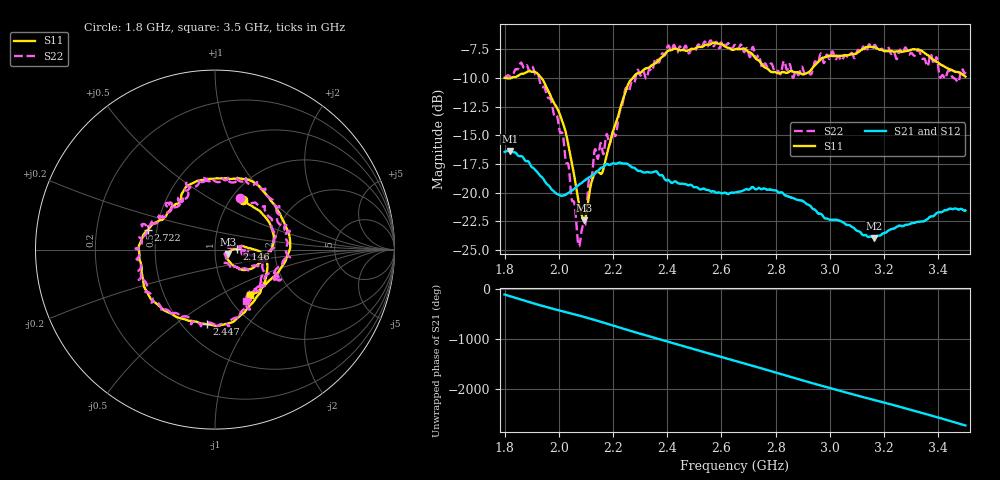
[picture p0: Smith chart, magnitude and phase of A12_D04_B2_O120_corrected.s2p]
! Created with skrf 1.9.0 (http://scikit-rf.org).
# Hz S RI R 50.0
!freq ReS11 ImS11 ReS21 ImS21 ReS12 ImS12 ReS22 ImS22
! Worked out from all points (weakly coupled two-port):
!   1601 points, 1.8 GHz to 3.5 GHz, reference 50 ohm
!   highest |S21| = -16.35 dB at 1.819 GHz (marker M1); lowest = -23.9 dB at 3.163 GHz (marker M2)
!   lowest |S11| = -22.4 dB at 2.093 GHz (marker M3), VSWR 1.16, Z = 57.7 - j2.78 ohm
!   |S11| at or under -10 dB: 1.804 GHz to 1.825 GHz (20.86 MHz wide, 1.15 % of centre); 1.936 GHz to 2.273 GHz (337.1 MHz wide, 16 % of centre)
!   |S22| runs from -24.7 to -6.7 dB; largest |S21 - S12| = 0.0025
!   S11 on the Smith chart (normalised r, x): 1.8 GHz: 1.13, +0.70; 2.146 GHz: 1.28, +0.01; 2.447 GHz: 0.65, -0.65; 2.722 GHz: 0.45, +0.12; 3.5 GHz: 1.26, -0.71
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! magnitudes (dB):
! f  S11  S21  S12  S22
! 1.8 GHz  -10.0  -16.4  -16.4  -9.9
! 1.819 GHz  -10.0  -16.3  -16.4  -9.8
! 1.903 GHz  -9.5  -17.8  -17.8  -9.0
! 1.968 GHz  -11.4  -19.5  -19.6  -11.8
! 2.023 GHz  -14.5  -20.2  -20.2  -16.8
! 2.071 GHz  -20.5  -19.4  -19.4  -24.4
! 2.084 GHz  -21.9  -19.2  -19.1  -23.4
! 2.093 GHz  -22.4  -19.0  -19.0  -22.8
! 2.129 GHz  -18.5  -18.4  -18.4  -16.8
! 2.146 GHz  -18.2  -18.0  -18.0  -16.8
! 2.209 GHz  -14.0  -17.5  -17.4  -15.1
! 2.259 GHz  -10.4  -17.6  -17.6  -11.1
! 2.367 GHz  -8.5  -18.4  -18.3  -8.6
! 2.447 GHz  -7.6  -19.2  -19.2  -7.2
! 2.65 GHz  -7.5  -20.0  -19.9  -7.1
! 2.722 GHz  -8.2  -19.6  -19.6  -7.8
! 2.802 GHz  -9.5  -19.8  -19.8  -9.5
! 2.934 GHz  -9.2  -21.3  -21.3  -9.6
! 3.163 GHz  -7.3  -23.9  -23.9  -7.2
! 3.217 GHz  -7.7  -23.3  -23.2  -7.4
! 3.415 GHz  -8.9  -21.7  -21.6  -9.7
! 3.5 GHz  -9.9  -21.5  -21.5  -9.5
